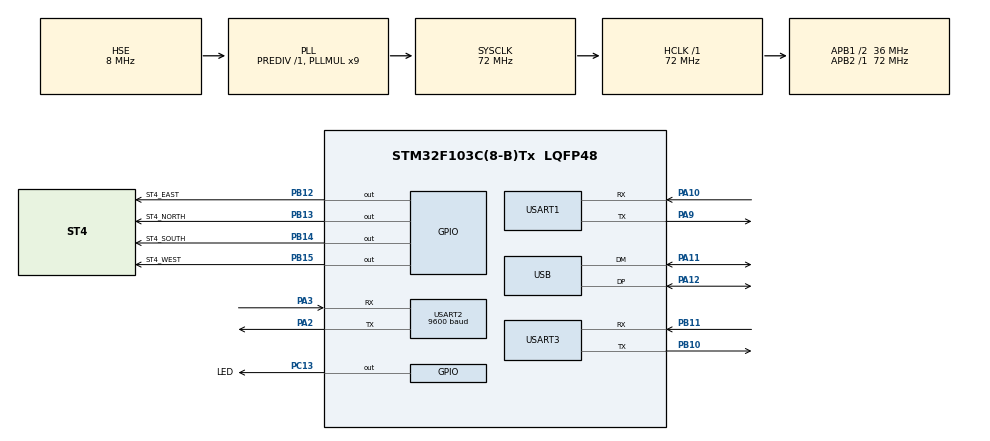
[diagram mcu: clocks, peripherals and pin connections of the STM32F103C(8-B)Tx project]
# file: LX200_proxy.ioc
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Mcu.Family=STM32F1
Mcu.Name=STM32F103C(8-B)Tx
Mcu.Package=LQFP48
NVIC.PriorityGroup=NVIC_PRIORITYGROUP_4
NVIC.USART2_IRQn=true\:0\:0\:false\:false\:true\:true\:true\:true
NVIC.USB_LP_CAN1_RX0_IRQn=true\:0\:0\:false\:false\:true\:false\:true\:true
PA10.Mode=Asynchronous
PA10.Signal=USART1_RX
PA11.Mode=Device
PA11.Signal=USB_DM
PA12.Mode=Device
PA12.Signal=USB_DP
PA13.Mode=Serial_Wire
PA13.Signal=SYS_JTMS-SWDIO
PA14.Mode=Serial_Wire
PA14.Signal=SYS_JTCK-SWCLK
PA2.Mode=Asynchronous
PA2.Signal=USART2_TX
PA3.Mode=Asynchronous
PA3.Signal=USART2_RX
PA9.Mode=Asynchronous
PA9.Signal=USART1_TX
PB10.Mode=Asynchronous
PB10.Signal=USART3_TX
PB11.Mode=Asynchronous
PB11.Signal=USART3_RX
PB12.GPIO_Label=ST4_EAST
PB12.GPIO_ModeDefaultOutputPP=GPIO_MODE_OUTPUT_OD
PB12.GPIO_PuPd=GPIO_NOPULL
PB12.PinState=GPIO_PIN_SET
PB12.Signal=GPIO_Output
PB13.GPIO_Label=ST4_NORTH
PB13.GPIO_ModeDefaultOutputPP=GPIO_MODE_OUTPUT_OD
PB13.GPIO_PuPd=GPIO_NOPULL
PB13.PinState=GPIO_PIN_SET
PB13.Signal=GPIO_Output
PB14.GPIO_Label=ST4_SOUTH
PB14.GPIO_ModeDefaultOutputPP=GPIO_MODE_OUTPUT_OD
PB14.GPIO_PuPd=GPIO_NOPULL
PB14.PinState=GPIO_PIN_SET
PB14.Signal=GPIO_Output
PB15.GPIO_Label=ST4_WEST
PB15.GPIO_ModeDefaultOutputPP=GPIO_MODE_OUTPUT_OD
PB15.GPIO_PuPd=GPIO_NOPULL
PB15.PinState=GPIO_PIN_SET
PB15.Signal=GPIO_Output
PC13-TAMPER-RTC.GPIO_Label=LED
PC13-TAMPER-RTC.Signal=GPIO_Output
PD0-OSC_IN.Mode=HSE-External-Oscillator
PD0-OSC_IN.Signal=RCC_OSC_IN
PD1-OSC_OUT.Mode=HSE-External-Oscillator
PD1-OSC_OUT.Signal=RCC_OSC_OUT
ProjectManager.HeapSize=0x200
ProjectManager.StackSize=0x400
ProjectManager.TargetToolchain=STM32CubeIDE
RCC.AHBFreq_Value=72000000
RCC.APB1CLKDivider=RCC_HCLK_DIV2
RCC.APB1Freq_Value=36000000
RCC.APB1TimFreq_Value=72000000
RCC.APB2Freq_Value=72000000
RCC.APB2TimFreq_Value=72000000
RCC.HCLKFreq_Value=72000000
RCC.PLLMUL=RCC_PLL_MUL9
RCC.SYSCLKFreq_VALUE=72000000
RCC.SYSCLKSource=RCC_SYSCLKSOURCE_PLLCLK
RCC.USBFreq_Value=48000000
RCC.USBPrescaler=RCC_USBCLKSOURCE_PLL_DIV1_5
USART1.VirtualMode=VM_ASYNC
USART2.BaudRate=9600
USART2.VirtualMode=VM_ASYNC
USART3.VirtualMode=VM_ASYNC
USB_DEVICE.CLASS_NAME_FS=CDC
USB_DEVICE.VirtualMode=Cdc
USB_DEVICE.VirtualModeFS=Cdc_FS
VP_USB_DEVICE_VS_USB_DEVICE_CDC_FS.Mode=CDC_FS
board=custom

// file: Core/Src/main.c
/* USER CODE BEGIN Header */
/**
  ******************************************************************************
  * @file           : main.c
  * @brief          : Main program body
  ******************************************************************************
  * @attention
  *
  * Copyright (c) 2025 STMicroelectronics.
  * All rights reserved.
  *
  * This software is licensed under terms that can be found in the LICENSE file
  * in the root directory of this software component.
  * If no LICENSE file comes with this software, it is provided AS-IS.
  *
  ******************************************************************************
  */
/* USER CODE END Header */
#include "main.h"
#include "usb_device.h"

/* USER CODE BEGIN Includes */
#include "usbd_cdc_if.h"
#include <string.h>
#include <stdio.h>
#include <stdarg.h>

#include "st4_handler.h"

/* USER CODE END Includes */

UART_HandleTypeDef huart1;
UART_HandleTypeDef huart2;
UART_HandleTypeDef huart3;

/* USER CODE BEGIN PV */
// UART1 receive buffer for forwarding to USB VCP
uint8_t uart2_rx_buffer[1];
/* USER CODE END PV */

void SystemClock_Config(void);
static void MX_GPIO_Init(void);
static void MX_USART2_UART_Init(void);
static void MX_USART3_UART_Init(void);
static void MX_USART1_UART_Init(void);
/* USER CODE BEGIN PFP */

extern void ParseLX200Data(uint8_t* data, uint32_t length);

// Timer functions
void toogleLED_callback(void);
void HAL_SYSTICK_Callback(void);

/* USER CODE END PFP */

/* USER CODE BEGIN 0 */
// UART1 Receive Complete Callback - forwards data to USB VCP
void HAL_UART_RxCpltCallback(UART_HandleTypeDef *huart)
{
    if(huart == UART_OUT)
    {
        // Forward received character via USB VCP
        CDC_Transmit_FS(uart2_rx_buffer, 1);

        // Debug output via UART3
        DEBUG_PRINTF(UART_DEBUG, "[%c]", uart2_rx_buffer[0]);
        if(uart2_rx_buffer[0] == '#')
        {
            DEBUG_PRINTF(UART_DEBUG, "\r\n");
        }

        // Receive next character
        HAL_UART_Receive_IT(UART_OUT, uart2_rx_buffer, 1);
    }
}

// UART Send function with sprintf functionality
void UART_Printf(UART_HandleTypeDef *huart, const char *format, ...)
{
    char buffer[256];  // Buffer for formatted message
    va_list args;

    va_start(args, format);
    int len = vsnprintf(buffer, sizeof(buffer), format, args);
    va_end(args);

    // Ensure the string is not too long
    if(len > 0 && len < sizeof(buffer))
    {
        HAL_UART_Transmit(huart, (uint8_t*)buffer, len, HAL_MAX_DELAY);
    }
}
/* USER CODE END 0 */

int main(void)
{

  /* MCU Configuration--------------------------------------------------------*/

  /* Reset of all peripherals, Initializes the Flash interface and the Systick. */
  HAL_Init();

  /* Configure the system clock */
  SystemClock_Config();

  /* Initialize all configured peripherals */
  MX_GPIO_Init();
  MX_USART2_UART_Init();
  MX_USART3_UART_Init();
  MX_USB_DEVICE_Init();
  MX_USART1_UART_Init();
  /* USER CODE BEGIN 2 */

  // Send welcome text via USB Uart
  UART_Printf(UART_DEBUG, "LX200 Proxy by Sven Lissel 2025\r\n");
  UART_Printf(UART_DEBUG, "Mount on UART2 @ %d Baud\r\n", huart2.Init.BaudRate);

  // Start UART1 reception (interrupt-based)
  HAL_UART_Receive_IT(UART_OUT, uart2_rx_buffer, 1);
  /* USER CODE END 2 */

  /* Infinite loop */
  /* USER CODE BEGIN WHILE */
  while (1)
  {
    st4_process();
    toogleLED_callback();
    HAL_Delay(1);

    /* USER CODE END WHILE */

  }
}

void SystemClock_Config(void)
{
  RCC_OscInitTypeDef RCC_OscInitStruct = {0};
  RCC_ClkInitTypeDef RCC_ClkInitStruct = {0};
  RCC_PeriphCLKInitTypeDef PeriphClkInit = {0};

  /** Initializes the RCC Oscillators according to the specified parameters
  * in the RCC_OscInitTypeDef structure.
  */
  RCC_OscInitStruct.OscillatorType = RCC_OSCILLATORTYPE_HSE;
  RCC_OscInitStruct.HSEState = RCC_HSE_ON;
  RCC_OscInitStruct.HSEPredivValue = RCC_HSE_PREDIV_DIV1;
  RCC_OscInitStruct.HSIState = RCC_HSI_ON;
  RCC_OscInitStruct.PLL.PLLState = RCC_PLL_ON;
  RCC_OscInitStruct.PLL.PLLSource = RCC_PLLSOURCE_HSE;
  RCC_OscInitStruct.PLL.PLLMUL = RCC_PLL_MUL9;
  if (HAL_RCC_OscConfig(&RCC_OscInitStruct) != HAL_OK)
  {
    Error_Handler();
  }

  /** Initializes the CPU, AHB and APB buses clocks
  */
  RCC_ClkInitStruct.ClockType = RCC_CLOCKTYPE_HCLK|RCC_CLOCKTYPE_SYSCLK
                              |RCC_CLOCKTYPE_PCLK1|RCC_CLOCKTYPE_PCLK2;
  RCC_ClkInitStruct.SYSCLKSource = RCC_SYSCLKSOURCE_PLLCLK;
  RCC_ClkInitStruct.AHBCLKDivider = RCC_SYSCLK_DIV1;
  RCC_ClkInitStruct.APB1CLKDivider = RCC_HCLK_DIV2;
  RCC_ClkInitStruct.APB2CLKDivider = RCC_HCLK_DIV1;

  if (HAL_RCC_ClockConfig(&RCC_ClkInitStruct, FLASH_LATENCY_2) != HAL_OK)
  {
    Error_Handler();
  }
  PeriphClkInit.PeriphClockSelection = RCC_PERIPHCLK_USB;
  PeriphClkInit.UsbClockSelection = RCC_USBCLKSOURCE_PLL_DIV1_5;
  if (HAL_RCCEx_PeriphCLKConfig(&PeriphClkInit) != HAL_OK)
  {
    Error_Handler();
  }
}

static void MX_USART1_UART_Init(void)
{

  huart1.Instance = USART1;
  huart1.Init.BaudRate = 115200;
  huart1.Init.WordLength = UART_WORDLENGTH_8B;
  huart1.Init.StopBits = UART_STOPBITS_1;
  huart1.Init.Parity = UART_PARITY_NONE;
  huart1.Init.Mode = UART_MODE_TX_RX;
  huart1.Init.HwFlowCtl = UART_HWCONTROL_NONE;
  huart1.Init.OverSampling = UART_OVERSAMPLING_16;
  if (HAL_UART_Init(&huart1) != HAL_OK)
  {
    Error_Handler();
  }

}

static void MX_USART2_UART_Init(void)
{

  huart2.Instance = USART2;
  huart2.Init.BaudRate = 9600;
  huart2.Init.WordLength = UART_WORDLENGTH_8B;
  huart2.Init.StopBits = UART_STOPBITS_1;
  huart2.Init.Parity = UART_PARITY_NONE;
  huart2.Init.Mode = UART_MODE_TX_RX;
  huart2.Init.HwFlowCtl = UART_HWCONTROL_NONE;
  huart2.Init.OverSampling = UART_OVERSAMPLING_16;
  if (HAL_UART_Init(&huart2) != HAL_OK)
  {
    Error_Handler();
  }

}

static void MX_USART3_UART_Init(void)
{

  huart3.Instance = USART3;
  huart3.Init.BaudRate = 115200;
  huart3.Init.WordLength = UART_WORDLENGTH_8B;
  huart3.Init.StopBits = UART_STOPBITS_1;
  huart3.Init.Parity = UART_PARITY_NONE;
  huart3.Init.Mode = UART_MODE_TX_RX;
  huart3.Init.HwFlowCtl = UART_HWCONTROL_NONE;
  huart3.Init.OverSampling = UART_OVERSAMPLING_16;
  if (HAL_UART_Init(&huart3) != HAL_OK)
  {
    Error_Handler();
  }

}

static void MX_GPIO_Init(void)
{
  GPIO_InitTypeDef GPIO_InitStruct = {0};

  /* GPIO Ports Clock Enable */
  __HAL_RCC_GPIOC_CLK_ENABLE();
  __HAL_RCC_GPIOD_CLK_ENABLE();
  __HAL_RCC_GPIOA_CLK_ENABLE();
  __HAL_RCC_GPIOB_CLK_ENABLE();

  /*Configure GPIO pin Output Level */
  HAL_GPIO_WritePin(LED_GPIO_Port, LED_Pin, GPIO_PIN_RESET);

  /*Configure GPIO pin Output Level */
  HAL_GPIO_WritePin(GPIOB, ST4_EAST_Pin|ST4_NORTH_Pin|ST4_SOUTH_Pin|ST4_WEST_Pin, GPIO_PIN_SET);

  /*Configure GPIO pin : LED_Pin */
  GPIO_InitStruct.Pin = LED_Pin;
  GPIO_InitStruct.Mode = GPIO_MODE_OUTPUT_PP;
  GPIO_InitStruct.Pull = GPIO_NOPULL;
  GPIO_InitStruct.Speed = GPIO_SPEED_FREQ_LOW;
  HAL_GPIO_Init(LED_GPIO_Port, &GPIO_InitStruct);

  /*Configure GPIO pins : ST4_EAST_Pin ST4_NORTH_Pin ST4_SOUTH_Pin ST4_WEST_Pin */
  GPIO_InitStruct.Pin = ST4_EAST_Pin|ST4_NORTH_Pin|ST4_SOUTH_Pin|ST4_WEST_Pin;
  GPIO_InitStruct.Mode = GPIO_MODE_OUTPUT_OD;
  GPIO_InitStruct.Pull = GPIO_NOPULL;

  GPIO_InitStruct.Speed = GPIO_SPEED_FREQ_LOW;
  HAL_GPIO_Init(GPIOB, &GPIO_InitStruct);

}

/* USER CODE BEGIN 4 */

void USB_CDC_RxHandler(uint8_t* Buf, uint32_t Len)
{
    // Parse the received data for LX200 commands
    ParseLX200Data(Buf, Len);
}

/**
 * @brief  1ms Timer Callback Function
 * @note   This function is called every 1ms
 * @retval None
 */
void toogleLED_callback(void)
{
    static uint32_t ms_counter = 0;

    ms_counter++;

    // Blink LED every 500ms (1 second)
    if (ms_counter % 500 == 0)
    {
        HAL_GPIO_TogglePin(LED_GPIO_Port, LED_Pin);  // Built-in LED toggle
    }
}

/* USER CODE END 4 */

void Error_Handler(void)
{
  __disable_irq();
  while (1)
  {
  }
}
